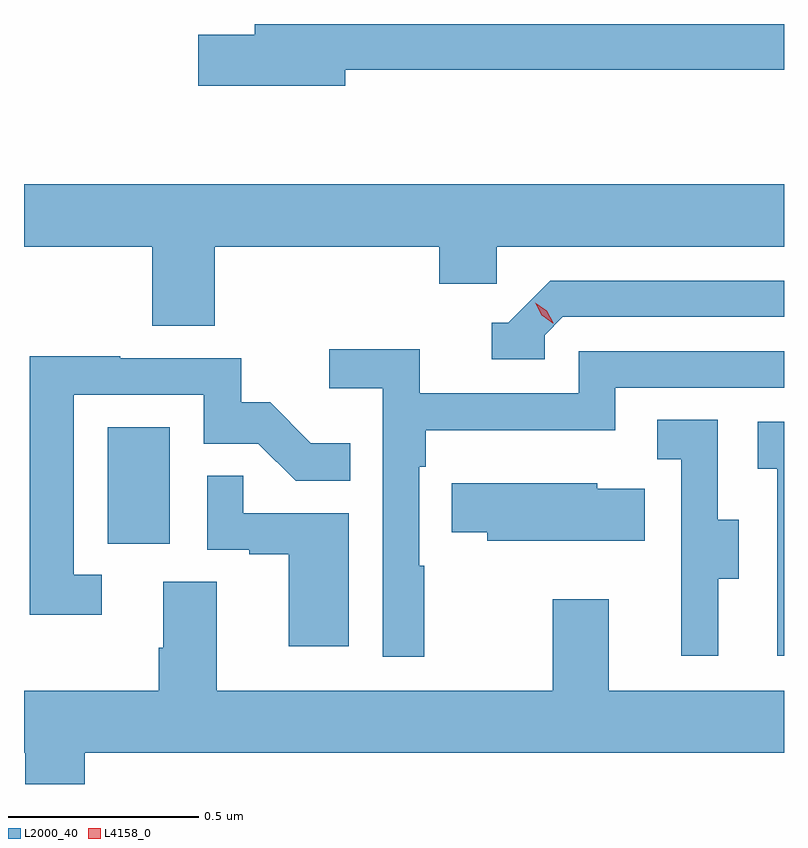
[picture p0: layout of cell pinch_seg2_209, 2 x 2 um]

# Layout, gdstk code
import gdstk
lib = gdstk.Library(unit=1e-6, precision=1e-09)
def R(c, l, rs):  # rectangles x0, y0, x1, y1
    for r in rs: c.add(gdstk.rectangle(r[:2], r[2:], *l))
def P(c, l, *ps):  # polygons
    for p in ps: c.add(gdstk.Polygon(p, *l))
L2000_40 = (2000, 40)
L4158_0 = (4158, 0)

pinch_seg2_209 = lib.new_cell('pinch_seg2_209')
R(pinch_seg2_209, L2000_40, [(962.3,660.174,962.464,660.481)])
P(pinch_seg2_209, L2000_40, [(962.926,661.422),(964.08,661.422),(964.08,661.542),(962.687,661.542),(962.687,661.514),(962.538,661.514),(962.538,661.379),(962.926,661.379)],
  [(962.582,660.956),(963.173,660.956),(963.173,660.858),(963.324,660.858),(963.324,660.956),(964.08,660.956),(964.08,661.12),(962.08,661.12),(962.08,660.956),(962.417,660.956),(962.417,660.748),(962.582,660.748)],
  [(963.45,660.723),(963.498,660.771),(964.08,660.771),(964.08,660.867),(963.465,660.867),(963.354,660.756),(963.311,660.756),(963.311,660.66),(963.45,660.66)],
  [(963.133,660.116),(963.12,660.116),(963.12,660.377),(963.137,660.377),(963.137,660.473),(963.636,660.473),(963.636,660.585),(964.08,660.585),(964.08,660.681),(963.54,660.681),(963.54,660.57),(963.122,660.57),(963.122,660.686),(962.883,660.686),(962.883,660.584),(963.024,660.584),(963.024,659.877),(963.133,659.877)],
  [(962.284,660.093),(962.211,660.093),(962.211,660.567),(962.553,660.567),(962.553,660.438),(962.697,660.438),(962.795,660.34),(962.939,660.34),(962.939,660.439),(962.835,660.439),(962.728,660.546),(962.652,660.546),(962.652,660.663),(962.333,660.663),(962.333,660.668),(962.095,660.668),(962.095,659.988),(962.284,659.988)],
  [(963.907,660.082),(963.961,660.082),(963.961,660.237),(963.906,660.237),(963.906,660.5),(963.747,660.5),(963.747,660.397),(963.81,660.397),(963.81,660.093),(963.809,660.093),(963.809,659.88),(963.907,659.88)],
  [(964.08,660.495),(964.011,660.495),(964.011,660.371),(964.062,660.371),(964.062,659.88),(964.08,659.88)],
  [(962.935,660.255),(962.657,660.255),(962.657,660.353),(962.562,660.353),(962.562,660.159),(962.673,660.159),(962.673,660.147),(962.777,660.147),(962.777,659.904),(962.935,659.904)],
  [(963.713,660.319),(963.588,660.319),(963.588,660.334),(963.316,660.334),(963.316,660.333),(963.205,660.333),(963.205,660.205),(963.299,660.205),(963.299,660.182),(963.713,660.182)],
  [(962.24,659.624),(964.08,659.624),(964.08,659.788),(963.619,659.788),(963.619,660.028),(963.472,660.028),(963.472,659.788),(962.587,659.788),(962.587,660.074),(962.447,660.074),(962.447,659.9),(962.435,659.9),(962.435,659.788),(962.08,659.788),(962.08,659.624),(962.083,659.624),(962.083,659.542),(962.24,659.542)])
P(pinch_seg2_209, L4158_0, [(963.472,660.755),(963.442,660.775),(963.425,660.808),(963.425,660.808),(963.426,660.808),(963.456,660.788),(963.473,660.756),(963.473,660.755)])

lib.write_gds('pinch_seg2_209.gds')
